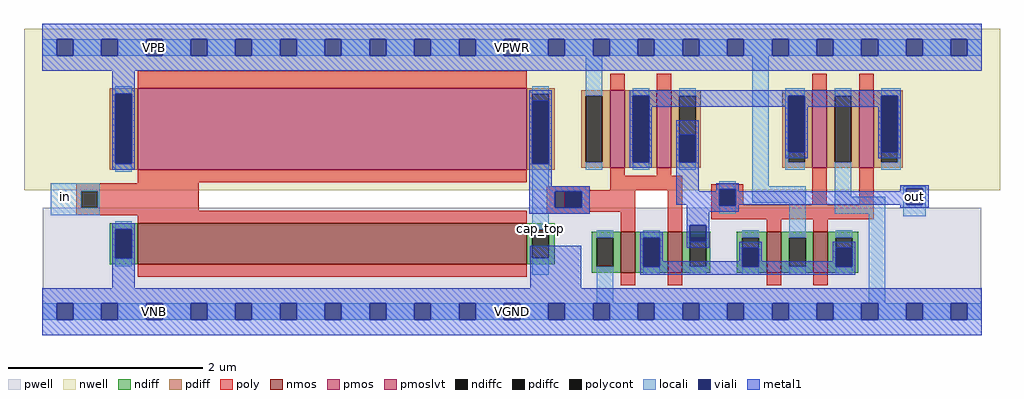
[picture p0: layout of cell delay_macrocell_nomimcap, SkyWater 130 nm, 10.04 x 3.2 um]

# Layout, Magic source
magic
tech sky130A
magscale 1 2
<< nwell >>
rect -38 250 1970 582
<< pwell >>
rect 1 -17 1931 214
<< nmos >>
rect 196 98 996 182
rect 1190 80 1220 164
rect 1286 80 1316 164
rect 1490 80 1520 164
rect 1586 80 1616 164
<< pmos >>
rect 1168 296 1198 456
rect 1264 296 1294 456
rect 1584 296 1614 456
rect 1680 296 1710 456
<< pmoslvt >>
rect 196 292 996 460
<< ndiff >>
rect 138 170 196 182
rect 138 110 150 170
rect 184 110 196 170
rect 138 98 196 110
rect 996 170 1054 182
rect 996 110 1008 170
rect 1042 110 1054 170
rect 996 98 1054 110
rect 1130 152 1190 164
rect 1130 92 1140 152
rect 1174 92 1190 152
rect 1130 80 1190 92
rect 1220 152 1286 164
rect 1220 92 1236 152
rect 1270 92 1286 152
rect 1220 80 1286 92
rect 1316 152 1374 164
rect 1316 92 1332 152
rect 1366 92 1374 152
rect 1316 80 1374 92
rect 1428 152 1490 164
rect 1428 92 1440 152
rect 1474 92 1490 152
rect 1428 80 1490 92
rect 1520 152 1586 164
rect 1520 92 1536 152
rect 1570 92 1586 152
rect 1520 80 1586 92
rect 1616 152 1678 164
rect 1616 92 1632 152
rect 1666 92 1678 152
rect 1616 80 1678 92
<< pdiff >>
rect 138 448 196 460
rect 138 304 150 448
rect 184 304 196 448
rect 138 292 196 304
rect 996 448 1054 460
rect 996 304 1008 448
rect 1042 304 1054 448
rect 996 292 1054 304
rect 1108 444 1168 456
rect 1108 308 1118 444
rect 1152 308 1168 444
rect 1108 296 1168 308
rect 1198 444 1264 456
rect 1198 308 1214 444
rect 1248 308 1264 444
rect 1198 296 1264 308
rect 1294 444 1354 456
rect 1294 308 1310 444
rect 1344 308 1354 444
rect 1294 296 1354 308
rect 1522 444 1584 456
rect 1522 308 1534 444
rect 1568 308 1584 444
rect 1522 296 1584 308
rect 1614 444 1680 456
rect 1614 308 1630 444
rect 1664 308 1680 444
rect 1614 296 1680 308
rect 1710 444 1770 456
rect 1710 308 1726 444
rect 1760 308 1770 444
rect 1710 296 1770 308
<< ndiffc >>
rect 150 110 184 170
rect 1008 110 1042 170
rect 1140 92 1174 152
rect 1236 92 1270 152
rect 1332 92 1366 152
rect 1440 92 1474 152
rect 1536 92 1570 152
rect 1632 92 1666 152
<< pdiffc >>
rect 150 304 184 448
rect 1008 304 1042 448
rect 1118 308 1152 444
rect 1214 308 1248 444
rect 1310 308 1344 444
rect 1534 308 1568 444
rect 1630 308 1664 444
rect 1726 308 1760 444
<< poly >>
rect 196 460 996 496
rect 1168 456 1198 490
rect 1264 456 1294 490
rect 1584 456 1614 490
rect 1680 456 1710 490
rect 196 266 996 292
rect 1168 280 1198 296
rect 1264 280 1294 296
rect 196 264 322 266
rect 70 248 322 264
rect 70 214 80 248
rect 114 214 322 248
rect 70 208 322 214
rect 1038 250 1126 258
rect 1168 250 1316 280
rect 1038 248 1220 250
rect 1038 214 1076 248
rect 1110 214 1220 248
rect 70 198 996 208
rect 1038 206 1220 214
rect 1038 202 1126 206
rect 196 182 996 198
rect 1190 164 1220 206
rect 1286 164 1316 250
rect 1376 252 1442 262
rect 1376 218 1392 252
rect 1426 220 1442 252
rect 1584 220 1614 296
rect 1680 220 1710 296
rect 1426 218 1710 220
rect 1376 190 1710 218
rect 1490 164 1520 190
rect 1586 164 1616 190
rect 196 72 996 98
rect 1190 54 1220 80
rect 1286 54 1316 80
rect 1490 54 1520 80
rect 1586 54 1616 80
<< polycont >>
rect 80 214 114 248
rect 1076 214 1110 248
rect 1392 218 1426 252
<< locali >>
rect 0 527 29 561
rect 63 527 121 561
rect 155 527 213 561
rect 247 527 305 561
rect 339 527 397 561
rect 431 527 489 561
rect 523 527 581 561
rect 615 527 673 561
rect 707 527 765 561
rect 799 527 857 561
rect 891 527 949 561
rect 983 527 1041 561
rect 1075 527 1133 561
rect 1167 527 1225 561
rect 1259 527 1317 561
rect 1351 527 1409 561
rect 1443 527 1501 561
rect 1535 527 1593 561
rect 1627 527 1685 561
rect 1719 527 1777 561
rect 1811 527 1869 561
rect 1903 527 1932 561
rect 150 448 184 464
rect 150 288 184 304
rect 1008 448 1042 464
rect 17 248 118 264
rect 17 214 80 248
rect 114 214 118 248
rect 17 198 118 214
rect 1008 258 1042 304
rect 1118 444 1152 527
rect 1118 292 1152 308
rect 1214 444 1248 460
rect 1214 292 1248 308
rect 1310 444 1344 460
rect 1310 292 1344 308
rect 1008 248 1126 258
rect 1008 214 1054 248
rect 1110 214 1126 248
rect 1008 202 1126 214
rect 1392 252 1426 268
rect 1460 258 1494 527
rect 1528 444 1568 460
rect 1528 308 1534 444
rect 1528 292 1568 308
rect 1630 444 1664 460
rect 1460 224 1570 258
rect 1392 202 1426 218
rect 150 170 184 186
rect 150 94 184 110
rect 1008 170 1042 202
rect 1008 76 1042 110
rect 1140 152 1174 168
rect 1140 17 1174 92
rect 1236 152 1270 168
rect 1236 76 1270 92
rect 1332 76 1366 92
rect 1440 152 1474 168
rect 1440 76 1474 92
rect 1536 152 1570 224
rect 1630 236 1664 308
rect 1726 444 1766 460
rect 1760 308 1766 444
rect 1726 292 1766 308
rect 1771 254 1817 258
rect 1630 202 1734 236
rect 1536 76 1570 92
rect 1632 152 1666 168
rect 1632 76 1666 92
rect 1700 17 1734 202
rect 1771 220 1777 254
rect 1811 220 1817 254
rect 1771 196 1817 220
rect 0 -17 29 17
rect 63 -17 121 17
rect 155 -17 213 17
rect 247 -17 305 17
rect 339 -17 397 17
rect 431 -17 489 17
rect 523 -17 581 17
rect 615 -17 673 17
rect 707 -17 765 17
rect 799 -17 857 17
rect 891 -17 949 17
rect 983 -17 1041 17
rect 1075 -17 1133 17
rect 1167 -17 1225 17
rect 1259 -17 1317 17
rect 1351 -17 1409 17
rect 1443 -17 1501 17
rect 1535 -17 1593 17
rect 1627 -17 1685 17
rect 1719 -17 1777 17
rect 1811 -17 1869 17
rect 1903 -17 1932 17
<< viali >>
rect 29 527 63 561
rect 121 527 155 561
rect 213 527 247 561
rect 305 527 339 561
rect 397 527 431 561
rect 489 527 523 561
rect 581 527 615 561
rect 673 527 707 561
rect 765 527 799 561
rect 857 527 891 561
rect 949 527 983 561
rect 1041 527 1075 561
rect 1133 527 1167 561
rect 1225 527 1259 561
rect 1317 527 1351 561
rect 1409 527 1443 561
rect 1501 527 1535 561
rect 1593 527 1627 561
rect 1685 527 1719 561
rect 1777 527 1811 561
rect 1869 527 1903 561
rect 150 304 184 448
rect 1008 304 1042 434
rect 1214 308 1248 444
rect 1310 308 1344 364
rect 1054 214 1076 248
rect 1076 214 1110 248
rect 1392 218 1426 252
rect 1534 328 1568 444
rect 150 110 184 170
rect 1236 92 1270 152
rect 1332 152 1366 178
rect 1332 144 1366 152
rect 1440 92 1474 132
rect 1726 328 1760 444
rect 1632 92 1666 132
rect 1777 220 1811 254
rect 29 -17 63 17
rect 121 -17 155 17
rect 213 -17 247 17
rect 305 -17 339 17
rect 397 -17 431 17
rect 489 -17 523 17
rect 581 -17 615 17
rect 673 -17 707 17
rect 765 -17 799 17
rect 857 -17 891 17
rect 949 -17 983 17
rect 1041 -17 1075 17
rect 1133 -17 1167 17
rect 1225 -17 1259 17
rect 1317 -17 1351 17
rect 1409 -17 1443 17
rect 1501 -17 1535 17
rect 1593 -17 1627 17
rect 1685 -17 1719 17
rect 1777 -17 1811 17
rect 1869 -17 1903 17
<< metal1 >>
rect 0 561 1932 592
rect 0 527 29 561
rect 63 527 121 561
rect 155 527 213 561
rect 247 527 305 561
rect 339 527 397 561
rect 431 527 489 561
rect 523 527 581 561
rect 615 527 673 561
rect 707 527 765 561
rect 799 527 857 561
rect 891 527 949 561
rect 983 527 1041 561
rect 1075 527 1133 561
rect 1167 527 1225 561
rect 1259 527 1317 561
rect 1351 527 1409 561
rect 1443 527 1501 561
rect 1535 527 1593 561
rect 1627 527 1685 561
rect 1719 527 1777 561
rect 1811 527 1869 561
rect 1903 527 1932 561
rect 0 496 1932 527
rect 144 448 190 496
rect 144 304 150 448
rect 184 304 190 448
rect 144 292 190 304
rect 1002 434 1048 456
rect 1002 304 1008 434
rect 1042 304 1048 434
rect 1002 258 1048 304
rect 1208 444 1766 456
rect 1208 308 1214 444
rect 1248 422 1534 444
rect 1248 308 1254 422
rect 1208 296 1254 308
rect 1304 364 1350 394
rect 1304 308 1310 364
rect 1344 308 1350 364
rect 1528 328 1534 422
rect 1568 422 1726 444
rect 1568 328 1574 422
rect 1528 316 1574 328
rect 1720 328 1726 422
rect 1760 328 1766 444
rect 1720 316 1766 328
rect 1002 248 1126 258
rect 1002 214 1054 248
rect 1110 214 1126 248
rect 1304 248 1350 308
rect 1386 252 1432 264
rect 1386 248 1392 252
rect 1304 220 1392 248
rect 1002 202 1126 214
rect 1326 218 1392 220
rect 1426 248 1432 252
rect 1765 254 1823 260
rect 1765 248 1777 254
rect 1426 220 1777 248
rect 1811 220 1823 254
rect 1426 218 1432 220
rect 1326 206 1432 218
rect 1765 214 1823 220
rect 144 170 190 182
rect 144 110 150 170
rect 184 110 190 170
rect 1326 178 1372 206
rect 1230 152 1276 164
rect 144 48 190 110
rect 1004 48 1108 136
rect 1230 92 1236 152
rect 1270 104 1276 152
rect 1326 144 1332 178
rect 1366 144 1372 178
rect 1326 132 1372 144
rect 1434 132 1480 144
rect 1434 104 1440 132
rect 1270 92 1440 104
rect 1474 104 1480 132
rect 1626 132 1672 144
rect 1626 104 1632 132
rect 1474 92 1632 104
rect 1666 92 1672 132
rect 1230 76 1672 92
rect 0 17 1932 48
rect 0 -17 29 17
rect 63 -17 121 17
rect 155 -17 213 17
rect 247 -17 305 17
rect 339 -17 397 17
rect 431 -17 489 17
rect 523 -17 581 17
rect 615 -17 673 17
rect 707 -17 765 17
rect 799 -17 857 17
rect 891 -17 949 17
rect 983 -17 1041 17
rect 1075 -17 1133 17
rect 1167 -17 1225 17
rect 1259 -17 1317 17
rect 1351 -17 1409 17
rect 1443 -17 1501 17
rect 1535 -17 1593 17
rect 1627 -17 1685 17
rect 1719 -17 1777 17
rect 1811 -17 1869 17
rect 1903 -17 1932 17
rect 0 -48 1932 -17
<< labels >>
rlabel locali 1008 172 1042 172 1 cap_top
flabel metal1 s 0 -48 1932 48 0 FreeSans 160 0 0 0 VGND
port 4 nsew ground bidirectional abutment
flabel metal1 s 0 496 1932 592 0 FreeSans 160 0 0 0 VPWR
port 3 nsew power bidirectional abutment
flabel locali s 30 221 64 255 7 FreeSans 160 0 0 0 in
port 1 nsew signal input
flabel metal1 s 1777 220 1811 254 0 FreeSans 160 0 0 0 out
port 2 nsew signal output
flabel nwell s 213 527 247 561 0 FreeSans 160 0 0 0 VPB
port 5 nsew power bidirectional
flabel metal1 s 213 527 247 561 0 FreeSans 160 0 0 0 VPWR
port 3 nsew power bidirectional abutment
flabel pwell s 213 -17 247 17 0 FreeSans 160 0 0 0 VNB
port 6 nsew ground bidirectional
flabel metal1 s 213 -17 247 17 0 FreeSans 160 0 0 0 VGND
port 4 nsew ground bidirectional abutment
<< properties >>
string FIXED_BBOX 0 0 1932 544
string LEFclass CORE
string LEForigin 0 0
string LEFsite unithd
string LEFsource USER
string LEFsymmetry X Y R90
<< end >>
